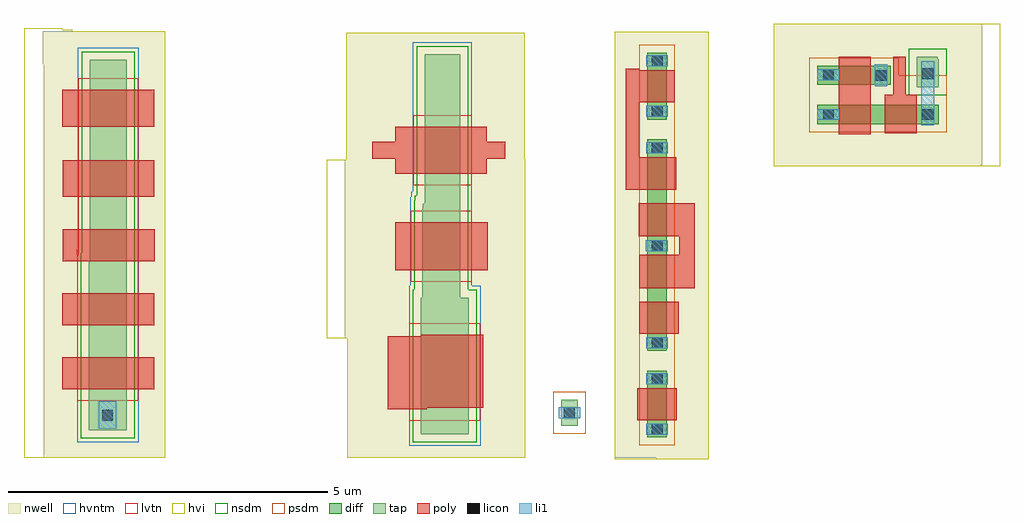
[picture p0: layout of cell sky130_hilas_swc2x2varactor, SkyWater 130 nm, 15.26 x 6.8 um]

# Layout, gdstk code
import gdstk
lib = gdstk.Library(unit=1e-6, precision=1e-09)
def R(c, l, rs):  # rectangles x0, y0, x1, y1
    for r in rs: c.add(gdstk.rectangle(r[:2], r[2:], *l))
nwell = (64, 20)
diff = (65, 20)
tap = (65, 44)
poly = (66, 20)
licon = (66, 44)
li1 = (67, 20)
hvi = (75, 20)
nsdm = (93, 44)
psdm = (94, 20)
hvntm = (125, 20)
lvtn = (125, 44)

sky130_hilas_swc2x2varac = lib.new_cell('sky130_hilas_swc2x2varactor')
R(sky130_hilas_swc2x2varac, nwell, [(-5.07,-4.42,-4.25,-4.4), (-14.65,-4.4,-12.75,1.75), (-9.9,-4.4,-7.12,-2.53), (-5.72,-4.4,-4.25,2.26), (-9.94,-2.53,-7.12,0.26), (-3.24,0.16,-0.02,0.17), (-3.24,0.17,0.02,2.38), (-9.92,0.26,-7.13,2.24), (-14.66,1.75,-12.75,2.27)])
R(sky130_hilas_swc2x2varac, diff, [(-5.21,-4.08,-4.91,-3.04), (-5.21,-2.73,-4.91,0.58), (-2.56,0.81,-0.66,1.12), (-5.21,0.88,-4.91,1.93), (-2.56,1.43,-1.41,1.73)])
R(sky130_hilas_swc2x2varac, tap, [(-8.75,-4.03,-8,-1.9), (-13.94,-3.97,-13.35,-1.33), (-6.56,-3.9,-6.3,-3.49), (-8.73,-1.9,-8.14,-0.51), (-13.93,-1.33,-13.35,1.82), (-8.72,-0.51,-8.14,-0.43), (-8.69,-0.43,-8.14,1.91), (-1,1.39,-0.66,1.83), (-1,1.83,-0.67,1.87)])
R(sky130_hilas_swc2x2varac, poly, [(-5.37,-3.81,-4.75,-3.31), (-9.27,-3.64,-8.66,-3.62), (-9.27,-3.62,-7.78,-2.5), (-14.36,-3.33,-12.92,-2.83), (-8.75,-2.5,-7.78,-2.48), (-5.34,-2.46,-4.72,-1.96), (-14.36,-2.33,-12.92,-1.83), (-5.34,-1.75,-4.72,-1.67), (-4.71,-1.75,-4.47,-1.67), (-5.34,-1.67,-4.47,-1.23), (-9.15,-1.47,-7.71,-0.72), (-14.35,-1.33,-12.91,-0.83), (-4.71,-1.23,-4.47,-0.94), (-5.35,-0.94,-4.47,-0.42), (-14.35,-0.32,-12.92,0.25), (-5.55,-0.21,-4.76,0.3), (-9.15,0.04,-7.72,0.27), (-9.51,0.27,-7.43,0.54), (-5.55,0.3,-5.34,1.16), (-9.15,0.54,-7.72,0.77), (-2.22,0.66,-1.72,1.87), (-1.5,0.67,-1,1.27), (-14.36,0.77,-12.92,1.35), (-5.55,1.16,-4.78,1.66), (-1.37,1.27,-1.17,1.87), (-5.55,1.66,-5.34,1.68)])
R(sky130_hilas_swc2x2varac, licon, [(-5.145,-4.04,-4.975,-3.87), (-13.735,-3.82,-13.565,-3.65), (-6.515,-3.78,-6.345,-3.61), (-5.145,-3.25,-4.975,-3.08), (-5.145,-2.69,-4.975,-2.52), (-5.145,-1.17,-4.975,-1), (-5.145,0.36,-4.975,0.53), (-2.465,0.88,-2.295,1.05), (-0.915,0.88,-0.745,1.05), (-5.145,0.93,-4.975,1.1), (-1.64,1.49,-1.47,1.66), (-2.465,1.5,-2.295,1.67), (-0.915,1.515,-0.745,1.685), (-5.145,1.72,-4.975,1.89)])
R(sky130_hilas_swc2x2varac, li1, [(-5.23,-4.04,-4.89,-3.87), (-13.79,-3.95,-13.51,-3.52), (-6.6,-3.78,-6.26,-3.61), (-5.23,-3.25,-4.89,-3.08), (-5.23,-2.69,-4.89,-2.52), (-5.24,-1.17,-4.89,-1), (-5.23,0.36,-4.89,0.53), (-0.93,0.8,-0.73,1.8), (-2.56,0.88,-2.21,1.05), (-5.23,0.93,-4.89,1.1), (-1.66,1.41,-1.46,1.75), (-2.56,1.5,-2.21,1.67), (-5.23,1.72,-4.89,1.89)])
R(sky130_hilas_swc2x2varac, hvi, [(-5.72,-4.42,-4.25,2.26), (-14.955,-4.4,-12.75,2.27), (-9.9,-4.4,-7.12,-2.53), (-10.22,-2.53,-7.12,0.26), (-3.24,0.16,0.3,2.38), (-9.92,0.26,-7.13,2.24), (-14.955,2.27,-14.2,2.29), (-14.955,2.29,-14.355,2.31)])
R(sky130_hilas_swc2x2varac, nsdm, [(-8.875,-4.155,-7.875,-1.775), (-14.065,-4.095,-13.225,-1.205), (-8.855,-1.775,-8.015,-0.385), (-14.055,-1.205,-13.225,1.945), (-8.845,-0.385,-8.015,-0.305), (-8.815,-0.305,-8.015,2.035), (-1.125,1.265,-0.535,1.995)])
R(sky130_hilas_swc2x2varac, psdm, [(-5.335,-4.205,-4.785,2.055), (-6.685,-4.025,-6.175,-3.365), (-2.685,0.685,-0.535,1.575), (-2.685,1.575,-1.285,1.855)])
R(sky130_hilas_swc2x2varac, hvntm, [(-8.935,-4.215,-7.815,-1.715), (-14.125,-4.155,-13.165,-1.145), (-8.915,-1.715,-7.955,-0.325), (-14.115,-1.145,-13.165,2.005), (-8.905,-0.325,-7.955,-0.245), (-8.875,-0.245,-7.955,2.095)])
R(sky130_hilas_swc2x2varac, lvtn, [(-8.93,-3.82,-7.82,-2.3), (-14.12,-3.51,-13.17,-1.24), (-8.91,-1.65,-7.96,-0.54), (-14.11,-1.24,-13.17,1.53), (-8.87,-0.14,-7.96,0.95)])

lib.write_gds('sky130_hilas_swc2x2varactor.gds')
